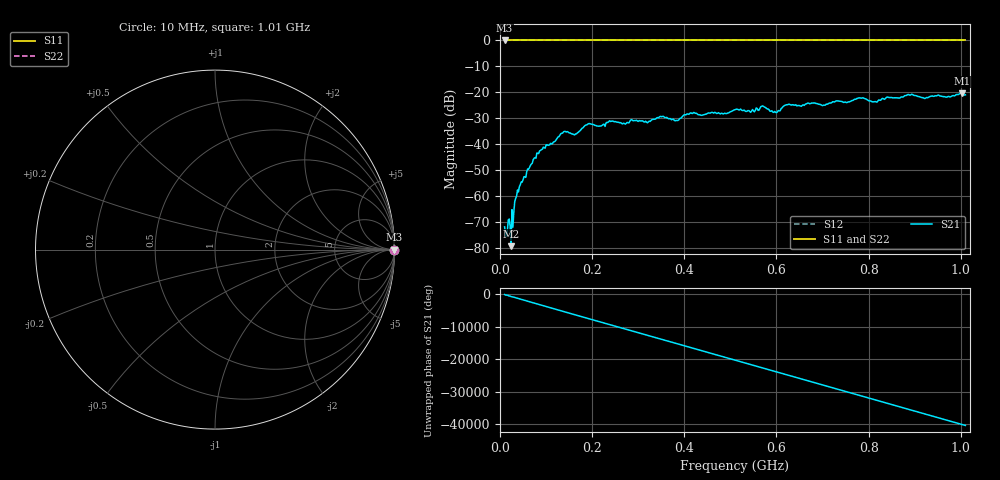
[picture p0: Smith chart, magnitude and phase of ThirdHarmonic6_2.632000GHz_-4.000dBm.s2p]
! 8/17/2025 5:53:24 AM
! C:\ANRITSUVNA\TEMP\TEMP.S2P
! CHANNEL.1
! TR.MEASUREMENT
! RAW.DATA
! RF.CORRECTION.OFF
! AVERAGING.OFF
! IF.BANDWIDTH: 5KHZ
! SWEEPTYPE:  FREQ.SWEEP(Linear)
! Reference Plane Port Info
! PORT:  PORT1  PORT2
! DISTANCE:  0  m  0  m
! TIME:  0  s  0  s
! PHASE.OFFSET:  0  deg.  0  deg.
! LOSS:  0  dB  0  dB
! REF.LOSS:  0  dB  0  dB
! REF.FREQ:  0  Hz  0  Hz
! Power Info
! POWER:  -20  dBm  -20  dBm
! EFF.POWER:  -20  dBm  -20  dBm
! SOURCE.ATTEN:  0  dB  0  dB
! TEST.ATTEN:  0  dB  0  dB
# GHZ S RI R 50.0
! FREQ.GHZ  S11RE  S11IM  S21RE  S21IM  S12RE  S12IM  S22RE  S22IM
!; PortSelection: Port_12
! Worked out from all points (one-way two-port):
!   501 points, 10 MHz to 1.01 GHz, reference 50 ohm
!   highest |S21| = -20.34 dB at 1.002 GHz (marker M1); lowest = -79.4 dB at 24 MHz (marker M2)
!   lowest |S11| = 0.0 dB at 10 MHz (marker M3)
!   |S11| at or under -10 dB: nowhere
!   |S22| runs from 0.0 to 0.0 dB; largest |S21 - S12| = 1.1
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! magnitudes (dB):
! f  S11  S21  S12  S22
! 10 MHz  0.0  -71.9  0.0  0.0
! 24 MHz  0.0  -79.4  0.0  0.0
! 28 MHz  0.0  -72.1  0.0  0.0
! 34 MHz  0.0  -60.9  0.0  0.0
! 42 MHz  0.0  -56.4  0.0  0.0
! 84 MHz  0.0  -43.6  0.0  0.0
! 136 MHz  0.0  -35.7  0.0  0.0
! 162 MHz  0.0  -36.4  0.0  0.0
! 178 MHz  0.0  -33.9  0.0  0.0
! 192 MHz  0.0  -32.1  0.0  0.0
! 322 MHz  0.0  -31.5  0.0  0.0
! 344 MHz  0.0  -29.9  0.0  0.0
! 384 MHz  0.0  -30.9  0.0  0.0
! 416 MHz  0.0  -28.1  0.0  0.0
! 510 MHz  0.0  -26.8  0.0  0.0
! 570 MHz  0.0  -25.3  0.0  0.0
! 598 MHz  0.0  -27.7  0.0  0.0
! 622 MHz  0.0  -24.8  0.0  0.0
! 678 MHz  0.0  -24.2  0.0  0.0
! 844 MHz  0.0  -22.0  0.0  0.0
! 1.002 GHz  0.0  -20.3  0.0  0.0
! 1.01 GHz  0.0  -21.0  0.0  0.0
